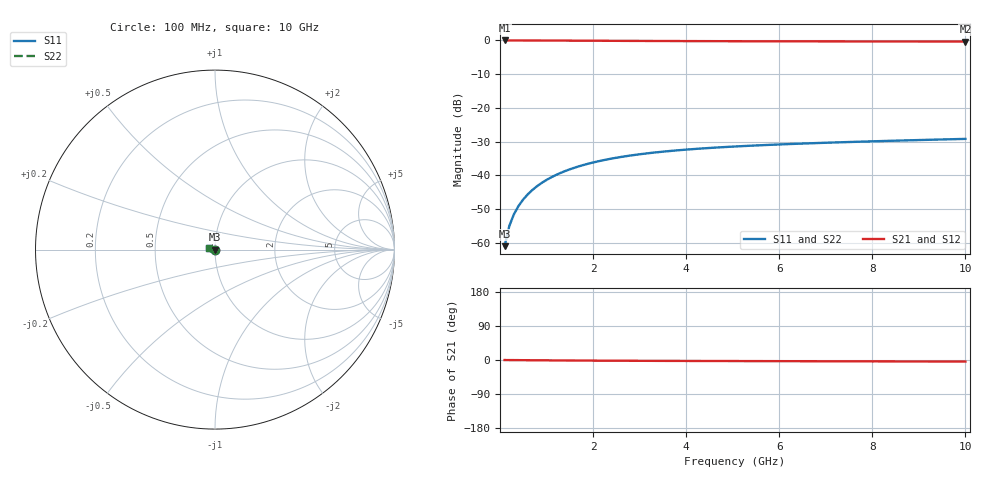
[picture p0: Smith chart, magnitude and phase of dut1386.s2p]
! Touchstone file exported from HFSS 2024.1.0
!  File:  C:/UserFiles/LocalFiles/RDL_TSV_Batchsim/temp_TSV1_1386_1780380715.aedt
!  Generated:  02:17:13 PM Jun  2, 2026
!  Design:  TSV1
!  Project:  temp_TSV1_1386_1780380715
!  Setup:  Setup1
!  Solution:  Sweep
! Variables:
!  dtsv = 9.47um
!  hbump = 3um
!  htsv = 61.44um
!  lrdl = 252.1521522um
!  p = 40
!  p1 = 52.13um
!  t = 500um
!  trdl = 3um
!  wrdl = 24.89489489um
# GHz S MA R 50.000000
! Terminal data exported
! Port[1] = TSV22_T1
! Port[2] = TSV22_T2
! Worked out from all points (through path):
!   100 points, 100 MHz to 10 GHz, reference 50 ohm
!   highest |S21| = 0.00 dB at 100 MHz (marker M1); lowest = -0.3 dB at 10 GHz (marker M2)
!   lowest |S11| = -61.1 dB at 100 MHz (marker M3), VSWR 1.00, Z = 50 - j0.0877 ohm
!   |S11| at or under -10 dB: start of sweep to end of sweep
!   |S22| runs from -61.1 to -29.2 dB; largest |S21 - S12| = 3.1e-15
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0.1  0.0008839 -83.0  0.9998 -0.1  0.9998 -0.1  0.0008839 -83.0
! Gamma 0 0 0 0
! Port Impedance 50 0 50 0
0.2  0.001757 -89.2  0.9997 -0.2  0.9997 -0.2  0.001757 -89.2
0.3  0.002632 -92.6  0.9996 -0.3  0.9996 -0.3  0.002632 -92.6
0.4  0.003504 -95.4  0.9993 -0.4  0.9993 -0.4  0.003504 -95.4
0.5  0.004367 -97.8  0.9991 -0.5  0.9991 -0.5  0.004367 -97.8
0.6  0.005221 -100.1  0.9987 -0.6  0.9987 -0.6  0.005221 -100.1
0.7  0.006062 -102.2  0.9983 -0.7  0.9983 -0.7  0.006062 -102.2
0.8  0.006891 -104.3  0.9979 -0.8  0.9979 -0.8  0.006891 -104.3
0.9  0.007704 -106.4  0.9974 -0.8  0.9974 -0.8  0.007704 -106.4
1.1  0.009282 -110.3  0.9964 -1.0  0.9964 -1.0  0.009282 -110.3
1.4  0.01151 -115.8  0.9946 -1.2  0.9946 -1.2  0.01151 -115.8
1.6  0.0129 -119.4  0.9933 -1.4  0.9933 -1.4  0.0129 -119.4
1.8  0.0142 -122.7  0.9919 -1.5  0.9919 -1.5  0.0142 -122.7
2.1  0.01601 -127.5  0.9898 -1.7  0.9898 -1.7  0.01601 -127.5
2.5  0.01815 -133.5  0.987 -1.9  0.987 -1.9  0.01815 -133.5
2.9  0.02 -139.0  0.9844 -2.1  0.9844 -2.1  0.02 -139.0
3.4  0.02198 -145.1  0.9814 -2.3  0.9814 -2.3  0.02198 -145.1
4.2  0.02454 -153.8  0.9773 -2.6  0.9773 -2.6  0.02454 -153.8
5.1  0.02678 -162.0  0.9737 -2.8  0.9737 -2.8  0.02678 -162.0
6.7  0.02981 -174.0  0.9692 -3.3  0.9692 -3.3  0.02981 -174.0
8.4  0.03239 175.8  0.9661 -3.7  0.9661 -3.7  0.03239 175.8
10  0.03458 167.8  0.964 -4.1  0.964 -4.1  0.03458 167.8
